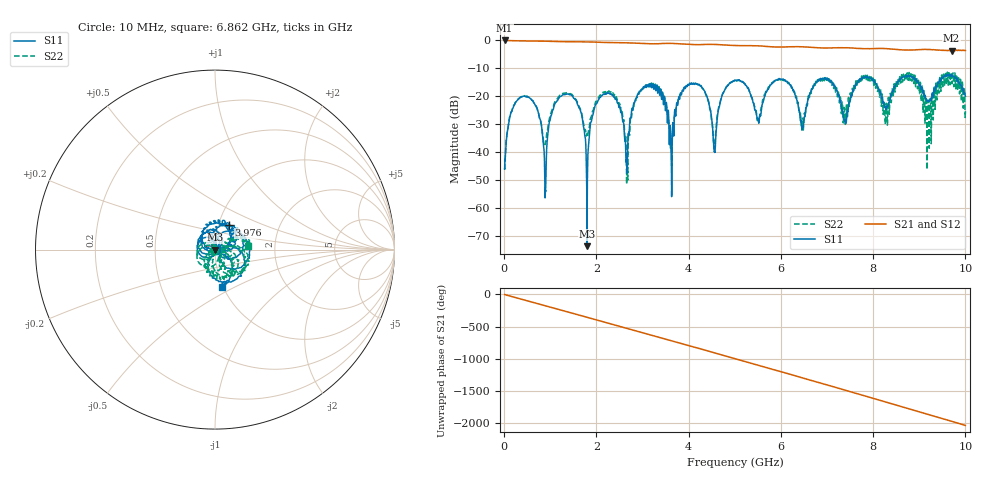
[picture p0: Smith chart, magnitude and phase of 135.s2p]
!Keysight Technologies,E5080B,MY59205177,A.15.75.32
!Date: Friday, February 23, 2024 03:39:29
!Correction: S11(Cdelta 2-Port  )
!S21(Cdelta 2-Port  )
!S12(Cdelta 2-Port  )
!S22(Cdelta 2-Port  )
!S2P File: Measurements: S11, S21, S12, S22:
# Hz S  dB  R 50
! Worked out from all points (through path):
!   10001 points, 10 MHz to 10 GHz, reference 50 ohm
!   highest |S21| = -0.01 dB at 10 MHz (marker M1); lowest = -3.7 dB at 9.701 GHz (marker M2)
!   group delay of S21, straight-line fit = 565 ps
!   lowest |S11| = -73.6 dB at 1.798 GHz (marker M3), VSWR 1.00, Z = 50 + j0.0204 ohm
!   |S11| at or under -10 dB: start of sweep to end of sweep
!   |S22| runs from -51.4 to -11.1 dB; largest |S21 - S12| = 0.0016
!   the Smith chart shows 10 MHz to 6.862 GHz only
!   S11 on the Smith chart (normalised r, x): 10 MHz: 1.01, -0.00; 3.976 GHz: 1.12, +0.32; 6.862 GHz: 0.98, -0.42
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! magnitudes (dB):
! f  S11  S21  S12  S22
! 10 MHz  -46.1  0.0  0.0  -45.9
! 372.6 MHz  -20.1  -0.2  -0.2  -20.1
! 888.1 MHz  -55.5  -0.3  -0.3  -37.0
! 1.177 GHz  -20.8  -0.4  -0.4  -20.2
! 1.675 GHz  -26.2  -0.5  -0.5  -25.7
! 1.798 GHz  -73.6  -0.5  -0.5  -33.4
! 2.108 GHz  -19.8  -0.7  -0.7  -19.0
! 2.663 GHz  -47.5  -0.9  -0.9  -43.4
! 2.907 GHz  -19.3  -1.0  -1.0  -18.8
! 3.341 GHz  -17.4  -1.1  -1.1  -17.6
! 3.627 GHz  -47.1  -1.1  -1.1  -41.9
! 3.976 GHz  -16.0  -1.4  -1.4  -16.0
! 4.561 GHz  -39.8  -1.4  -1.4  -38.6
! 5.005 GHz  -14.1  -1.8  -1.8  -14.5
! 5.516 GHz  -29.2  -1.9  -1.9  -28.5
! 6.107 GHz  -14.7  -2.3  -2.3  -14.7
! 6.464 GHz  -31.5  -2.3  -2.3  -27.8
! 6.67 GHz  -17.3  -2.5  -2.5  -17.0
! 6.862 GHz  -13.6  -2.7  -2.7  -14.5
! 8.336 GHz  -22.7  -3.0  -3.0  -21.0
! 9.701 GHz  -12.2  -3.7  -3.7  -13.8
! 10 GHz  -19.9  -3.6  -3.6  -25.3
